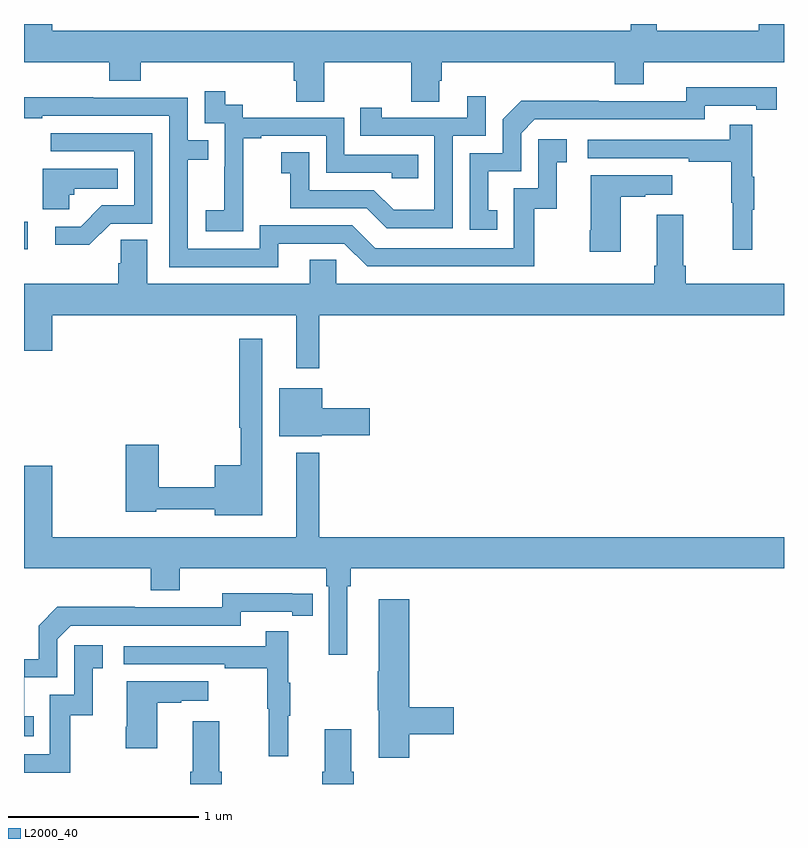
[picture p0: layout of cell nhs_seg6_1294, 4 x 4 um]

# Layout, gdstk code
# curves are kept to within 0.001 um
import gdstk
lib = gdstk.Library(unit=1e-6, precision=1e-09)
def R(c, l, rs):  # rectangles x0, y0, x1, y1
    for r in rs: c.add(gdstk.rectangle(r[:2], r[2:], *l))
def P(c, l, *ps):  # polygons
    for p in ps: c.add(gdstk.Polygon(p, *l))
L2000_40 = (2000, 40)

nhs_seg6_1294 = lib.new_cell('nhs_seg6_1294')
R(nhs_seg6_1294, L2000_40, [(189,982.314,189.019,982.458)])
P(nhs_seg6_1294, L2000_40, [(190.581,983.3),(191.038,983.3),(191.038,983.092),(191.185,983.092),(191.185,983.202),(191.198,983.202),(191.198,983.3),(192.11,983.3),(192.11,983.183),(192.262,983.183),(192.262,983.3),(193,983.3),(193,983.5),(192.866,983.5),(192.866,983.464),(192.329,983.464),(192.329,983.5),(192.193,983.5),(192.193,983.464),(189.148,983.464),(189.148,983.5),(189,983.5),(189,983.3),(189.449,983.3),(189.449,983.201),(189.614,983.201),(189.614,983.3),(190.421,983.3),(190.421,983.202),(190.433,983.202),(190.433,983.092),(190.581,983.092)],
  [(191.492,982.521),(191.443,982.521),(191.443,982.725),(191.616,982.725),(191.616,982.926),(191.688,982.998),(192.582,982.998),(192.582,983.07),(192.854,983.07),(192.854,983.05),(192.962,983.05),(192.962,983.166),(192.486,983.167),(192.486,983.094),(192.026,983.094),(192.026,983.096),(191.618,983.096),(191.52,982.998),(191.52,982.821),(191.346,982.821),(191.346,982.416),(191.492,982.416)],
  [(190.155,982.615),(190.154,982.615),(190.154,982.899),(190.249,982.899),(190.249,982.911),(190.59,982.911),(190.59,982.716),(190.935,982.716),(190.935,982.689),(191.075,982.689),(191.075,982.812),(190.686,982.812),(190.686,983.007),(190.152,983.007),(190.152,983.076),(190.06,983.076),(190.06,983.146),(189.951,983.146),(189.951,982.977),(190.056,982.977),(190.056,982.748),(190.055,982.748),(190.055,982.519),(189.957,982.519),(189.957,982.409),(190.155,982.409)],
  [(191.256,982.911),(191.43,982.911),(191.43,983.119),(191.333,983.119),(191.333,983.007),(190.882,983.007),(190.882,983.059),(190.771,983.059),(190.771,982.911),(191.16,982.911),(191.16,982.522),(190.946,982.522),(190.842,982.626),(190.5,982.626),(190.5,982.825),(190.353,982.825),(190.353,982.715),(190.402,982.715),(190.402,982.53),(190.805,982.53),(190.91,982.425),(191.256,982.425)],
  [(190.339,982.344),(190.686,982.344),(190.806,982.224),(191.686,982.224),(191.686,982.527),(191.804,982.527),(191.804,982.773),(191.857,982.773),(191.857,982.894),(191.706,982.894),(191.706,982.635),(191.577,982.635),(191.577,982.32),(190.848,982.32),(190.728,982.44),(190.242,982.44),(190.242,982.317),(189.861,982.317),(189.861,982.786),(189.971,982.786),(189.971,982.887),(189.861,982.887),(189.861,983.112),(189.365,983.112),(189.365,983.114),(189,983.114),(189,983.004),(189.097,983.004),(189.097,983.016),(189.765,983.016),(189.765,982.221),(190.339,982.221)],
  [(192.833,982.523),(192.844,982.523),(192.844,982.697),(192.833,982.697),(192.833,982.969),(192.715,982.969),(192.715,982.89),(191.967,982.89),(191.967,982.794),(192.499,982.794),(192.499,982.774),(192.723,982.774),(192.723,982.56),(192.73,982.56),(192.73,982.311),(192.833,982.311)],
  [(189.456,982.449),(189.675,982.449),(189.675,982.926),(189.141,982.926),(189.141,982.83),(189.579,982.83),(189.579,982.545),(189.41,982.545),(189.299,982.434),(189.165,982.434),(189.165,982.337),(189.343,982.337)],
  [(189.237,982.602),(189.264,982.602),(189.264,982.634),(189.494,982.634),(189.494,982.738),(189.098,982.738),(189.098,982.526),(189.237,982.526)],
  [(192.142,982.591),(192.269,982.591),(192.269,982.601),(192.412,982.601),(192.412,982.705),(191.984,982.705),(191.984,982.414),(191.977,982.414),(191.977,982.302),(192.142,982.302)],
  [(190.555,981.968),(193,981.968),(193,982.132),(192.482,982.132),(192.482,982.228),(192.469,982.228),(192.469,982.495),(192.329,982.495),(192.329,982.228),(192.317,982.228),(192.317,982.132),(190.644,982.132),(190.644,982.259),(190.505,982.259),(190.505,982.132),(189.649,982.132),(189.649,982.364),(189.51,982.364),(189.51,982.241),(189.497,982.241),(189.497,982.132),(189,982.132),(189,981.78),(189.148,981.78),(189.148,981.968),(190.433,981.968),(190.433,981.687),(190.555,981.687)],
  [(190.255,981.844),(190.134,981.844),(190.134,981.374),(190.141,981.374),(190.141,981.178),(190.004,981.178),(190.004,981.062),(189.708,981.062),(189.708,981.286),(189.535,981.286),(189.535,980.933),(189.696,980.933),(189.696,980.945),(190.004,980.945),(190.004,980.915),(190.255,980.915)],
  [(190.566,981.335),(190.819,981.335),(190.819,981.477),(190.57,981.477),(190.57,981.583),(190.343,981.583),(190.343,981.329),(190.566,981.329)],
  [(190.702,980.54),(190.721,980.54),(190.721,980.636),(193,980.636),(193,980.8),(190.555,980.8),(190.555,981.244),(190.433,981.244),(190.433,980.8),(189.148,980.8),(189.148,981.175),(189,981.175),(189,980.636),(189.668,980.636),(189.668,980.519),(189.82,980.519),(189.82,980.636),(190.592,980.636),(190.592,980.54),(190.605,980.54),(190.605,980.181),(190.702,980.181)],
  [(189.05,979.857),(189.001,979.857),(189.001,980.061),(189.174,980.061),(189.174,980.262),(189.246,980.334),(190.14,980.334),(190.14,980.406),(190.412,980.406),(190.412,980.386),(190.52,980.386),(190.52,980.502),(190.044,980.503),(190.044,980.43),(189.584,980.43),(189.584,980.432),(189.176,980.432),(189.078,980.334),(189.078,980.157),(189,980.157),(189,979.752),(189.05,979.752)],
  [(191.027,979.762),(191.263,979.762),(191.263,979.904),(191.027,979.904),(191.027,980.473),(190.868,980.473),(190.868,980.093),(190.861,980.093),(190.861,979.887),(190.868,979.887),(190.868,979.638),(191.027,979.638)],
  [(190.391,979.859),(190.402,979.859),(190.402,980.033),(190.391,980.033),(190.391,980.305),(190.273,980.305),(190.273,980.226),(189.525,980.226),(189.525,980.13),(190.057,980.13),(190.057,980.11),(190.281,980.11),(190.281,979.896),(190.288,979.896),(190.288,979.647),(190.391,979.647)],
  [(189.244,979.863),(189.362,979.863),(189.362,980.109),(189.415,980.109),(189.415,980.23),(189.264,980.23),(189.264,979.971),(189.135,979.971),(189.135,979.656),(189,979.656),(189,979.56),(189.244,979.56)],
  [(189.7,979.927),(189.827,979.927),(189.827,979.937),(189.97,979.937),(189.97,980.041),(189.542,980.041),(189.542,979.801),(189.535,979.801),(189.535,979.689),(189.7,979.689)],
  [(190.04,979.564),(190.027,979.564),(190.027,979.831),(189.887,979.831),(189.887,979.564),(189.875,979.564),(189.875,979.5),(190.04,979.5)],
  [(190.736,979.564),(190.723,979.564),(190.723,979.789),(190.583,979.789),(190.583,979.564),(190.571,979.564),(190.571,979.5),(190.736,979.5)])

lib.write_gds('nhs_seg6_1294.gds')
